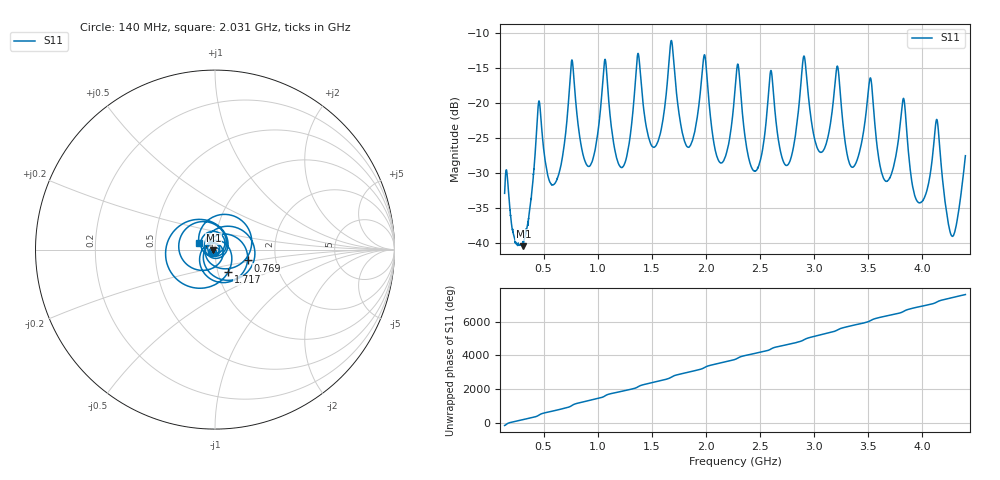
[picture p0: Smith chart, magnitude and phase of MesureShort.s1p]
! 140 4400 1
# MHz S MA R 50.0
!freq ReS11 ImS11
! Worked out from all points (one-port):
!   4260 points, 140 MHz to 4.399 GHz, reference 50 ohm
!   lowest |S11| = -40.4 dB at 314 MHz (marker M1), VSWR 1.02, Z = 49.1 - j0.406 ohm
!   |S11| at or under -10 dB: start of sweep to end of sweep
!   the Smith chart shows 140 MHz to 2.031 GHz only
!   S11 on the Smith chart (normalised r, x): 140 MHz: 0.96, -0.02; 769 MHz: 1.43, -0.18; 1.717 GHz: 1.12, -0.29; 2.031 GHz: 0.83, +0.07
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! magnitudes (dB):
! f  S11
! 140 MHz  -32.9
! 314 MHz  -40.4
! 456 MHz  -19.8
! 673 MHz  -27.8
! 769 MHz  -14.4
! 918 MHz  -29.0
! 1.071 GHz  -13.9
! 1.205 GHz  -29.0
! 1.372 GHz  -13.0
! 1.513 GHz  -26.3
! 1.717 GHz  -16.7
! 1.738 GHz  -19.8
! 2.031 GHz  -20.2
! 2.149 GHz  -28.5
! 2.27 GHz  -18.1
! 2.439 GHz  -29.6
! 2.802 GHz  -26.9
! 2.908 GHz  -13.3
! 3.059 GHz  -27.0
! 3.219 GHz  -14.8
! 3.335 GHz  -28.9
! 3.519 GHz  -16.4
! 3.65 GHz  -30.9
! 3.867 GHz  -26.0
! 3.988 GHz  -34.2
! 4.137 GHz  -22.4
! 4.277 GHz  -39.0
! 4.399 GHz  -27.5
